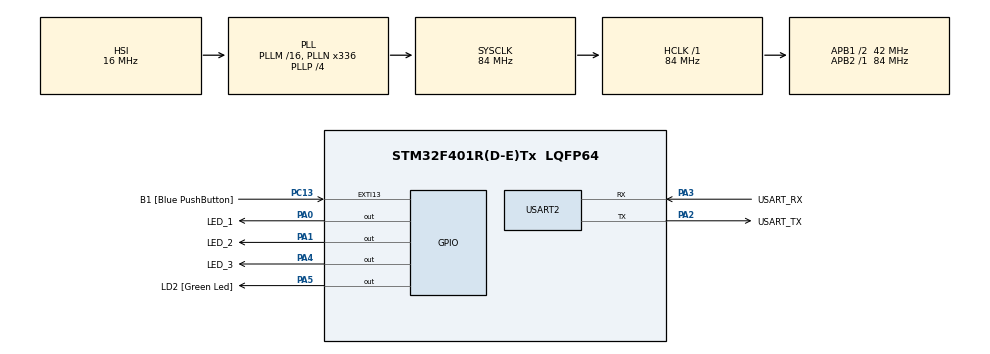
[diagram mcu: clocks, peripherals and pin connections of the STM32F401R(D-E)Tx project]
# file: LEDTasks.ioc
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Mcu.Family=STM32F4
Mcu.Name=STM32F401R(D-E)Tx
Mcu.Package=LQFP64
NVIC.PriorityGroup=NVIC_PRIORITYGROUP_4
NVIC.TIM1_UP_TIM10_IRQn=true\:15\:0\:false\:false\:true\:false\:true\:true
NVIC.TimeBase=TIM1_UP_TIM10_IRQn
NVIC.TimeBaseIP=TIM10
PA0-WKUP.GPIO_Label=LED_1
PA0-WKUP.GPIO_Speed=GPIO_SPEED_FREQ_VERY_HIGH
PA0-WKUP.Signal=GPIO_Output
PA1.GPIO_Label=LED_2
PA1.Signal=GPIO_Output
PA13.GPIO_Label=TMS
PA13.Mode=Trace_Asynchronous_SW
PA13.Signal=SYS_JTMS-SWDIO
PA14.GPIO_Label=TCK
PA14.Mode=Trace_Asynchronous_SW
PA14.Signal=SYS_JTCK-SWCLK
PA2.GPIO_Label=USART_TX
PA2.GPIO_Mode=GPIO_MODE_AF_PP
PA2.GPIO_PuPd=GPIO_NOPULL
PA2.GPIO_Speed=GPIO_SPEED_FREQ_LOW
PA2.Mode=Asynchronous
PA2.Signal=USART2_TX
PA3.GPIO_Label=USART_RX
PA3.GPIO_Mode=GPIO_MODE_AF_PP
PA3.GPIO_PuPd=GPIO_NOPULL
PA3.GPIO_Speed=GPIO_SPEED_FREQ_LOW
PA3.Mode=Asynchronous
PA3.Signal=USART2_RX
PA4.GPIO_Label=LED_3
PA4.Signal=GPIO_Output
PA5.GPIO_Label=LD2 [Green Led]
PA5.GPIO_Mode=GPIO_MODE_OUTPUT_PP
PA5.GPIO_PuPd=GPIO_NOPULL
PA5.GPIO_Speed=GPIO_SPEED_FREQ_LOW
PA5.Signal=GPIO_Output
PB3.GPIO_Label=SWO
PB3.Mode=Trace_Asynchronous_SW
PB3.Signal=SYS_JTDO-SWO
PC13-ANTI_TAMP.GPIO_Label=B1 [Blue PushButton]
PC13-ANTI_TAMP.GPIO_ModeDefaultEXTI=GPIO_MODE_IT_FALLING
PC13-ANTI_TAMP.GPIO_PuPd=GPIO_NOPULL
PC13-ANTI_TAMP.Signal=GPXTI13
PC14-OSC32_IN.Mode=LSE-External-Oscillator
PC14-OSC32_IN.Signal=RCC_OSC32_IN
PC15-OSC32_OUT.Mode=LSE-External-Oscillator
PC15-OSC32_OUT.Signal=RCC_OSC32_OUT
PH0\ -\ OSC_IN.Mode=HSE-External-Clock-Source
PH0\ -\ OSC_IN.Signal=RCC_OSC_IN
PH1\ -\ OSC_OUT.Mode=HSE-External-Clock-Source
PH1\ -\ OSC_OUT.Signal=RCC_OSC_OUT
ProjectManager.HeapSize=0x200
ProjectManager.StackSize=0x400
ProjectManager.TargetToolchain=STM32CubeIDE
RCC.48MHZClocksFreq_Value=48000000
RCC.AHBFreq_Value=84000000
RCC.APB1CLKDivider=RCC_HCLK_DIV2
RCC.APB1Freq_Value=42000000
RCC.APB1TimFreq_Value=84000000
RCC.APB2Freq_Value=84000000
RCC.APB2TimFreq_Value=84000000
RCC.CortexFreq_Value=84000000
RCC.HCLKFreq_Value=84000000
RCC.HSE_VALUE=8000000
RCC.HSI_VALUE=16000000
RCC.PLLN=336
RCC.PLLP=RCC_PLLP_DIV4
RCC.PLLQ=7
RCC.SYSCLKFreq_VALUE=84000000
RCC.SYSCLKSource=RCC_SYSCLKSOURCE_PLLCLK
RCC.VCOOutputFreq_Value=336000000
USART2.VirtualMode=VM_ASYNC
VP_SYS_VS_tim10.Mode=TIM10
board=NUCLEO-F401RE

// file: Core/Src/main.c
/* USER CODE BEGIN Header */
/**
  ******************************************************************************
  * @file           : main.c
  * @brief          : Main program body
  ******************************************************************************
  * @attention
  *
  * Copyright (c) 2026 STMicroelectronics.
  * All rights reserved.
  *
  * This software is licensed under terms that can be found in the LICENSE file
  * in the root directory of this software component.
  * If no LICENSE file comes with this software, it is provided AS-IS.
  *
  ******************************************************************************
  */
/* USER CODE END Header */
#include "main.h"

/* USER CODE BEGIN Includes */
#include <stdio.h>
#include "FreeRtos.h"
#include "task.h"
/* USER CODE END Includes */

UART_HandleTypeDef huart2;

void SystemClock_Config(void);
static void MX_GPIO_Init(void);
static void MX_USART2_UART_Init(void);

/* USER CODE BEGIN PFP */

static void LED1_Handler(void*pvParameters);
static void LED2_Handler(void*pvParameters);
static void LED3_Handler(void*pvParameters);

/* USER CODE END PFP */

int main(void)
{

  /* USER CODE BEGIN 1 */

	// declare task handles
	TaskHandle_t Task1Handle, Task2Handle, Task3Handle;
	// Structure for xTaskCreate return
	BaseType_t xReturned;

  /* USER CODE END 1 */

  /* MCU Configuration--------------------------------------------------------*/

  /* Reset of all peripherals, Initializes the Flash interface and the Systick. */
  HAL_Init();

  /* Configure the system clock */

  SystemClock_Config();

  /* Initialize all configured peripherals */
  MX_GPIO_Init();
  MX_USART2_UART_Init();

  /* USER CODE BEGIN 2 */

  // Create tasks1
  xReturned = xTaskCreate(LED1_Handler, "Task1", 100, NULL, 2, &Task1Handle);
  //check if task creation was successful
  configASSERT(xReturned == pdPASS);

  // Create tasks2
  xReturned = xTaskCreate(LED2_Handler, "Task2", 100, NULL, 2, &Task2Handle);
  //check if task creation was successful
  configASSERT(xReturned == pdPASS);

  // Create tasks3
  xReturned = xTaskCreate(LED3_Handler, "Task3", 100, NULL, 2, &Task3Handle);
  //check if task creation was successful
  configASSERT(xReturned == pdPASS);

  // start real time sheduler

  vTaskStartScheduler();

  /* USER CODE END 2 */

  /* Infinite loop */
  while (1)
  {

  }
}

void SystemClock_Config(void)
{
  RCC_OscInitTypeDef RCC_OscInitStruct = {0};
  RCC_ClkInitTypeDef RCC_ClkInitStruct = {0};

  /** Configure the main internal regulator output voltage
  */
  __HAL_RCC_PWR_CLK_ENABLE();
  __HAL_PWR_VOLTAGESCALING_CONFIG(PWR_REGULATOR_VOLTAGE_SCALE2);

  /** Initializes the RCC Oscillators according to the specified parameters
  * in the RCC_OscInitTypeDef structure.
  */
  RCC_OscInitStruct.OscillatorType = RCC_OSCILLATORTYPE_HSI;
  RCC_OscInitStruct.HSIState = RCC_HSI_ON;
  RCC_OscInitStruct.HSICalibrationValue = RCC_HSICALIBRATION_DEFAULT;
  RCC_OscInitStruct.PLL.PLLState = RCC_PLL_ON;
  RCC_OscInitStruct.PLL.PLLSource = RCC_PLLSOURCE_HSI;
  RCC_OscInitStruct.PLL.PLLM = 16;
  RCC_OscInitStruct.PLL.PLLN = 336;
  RCC_OscInitStruct.PLL.PLLP = RCC_PLLP_DIV4;
  RCC_OscInitStruct.PLL.PLLQ = 7;
  if (HAL_RCC_OscConfig(&RCC_OscInitStruct) != HAL_OK)
  {
    Error_Handler();
  }

  /** Initializes the CPU, AHB and APB buses clocks
  */
  RCC_ClkInitStruct.ClockType = RCC_CLOCKTYPE_HCLK|RCC_CLOCKTYPE_SYSCLK
                              |RCC_CLOCKTYPE_PCLK1|RCC_CLOCKTYPE_PCLK2;
  RCC_ClkInitStruct.SYSCLKSource = RCC_SYSCLKSOURCE_PLLCLK;
  RCC_ClkInitStruct.AHBCLKDivider = RCC_SYSCLK_DIV1;
  RCC_ClkInitStruct.APB1CLKDivider = RCC_HCLK_DIV2;
  RCC_ClkInitStruct.APB2CLKDivider = RCC_HCLK_DIV1;

  if (HAL_RCC_ClockConfig(&RCC_ClkInitStruct, FLASH_LATENCY_2) != HAL_OK)
  {
    Error_Handler();
  }
}

static void MX_USART2_UART_Init(void)
{

  huart2.Instance = USART2;
  huart2.Init.BaudRate = 115200;
  huart2.Init.WordLength = UART_WORDLENGTH_8B;
  huart2.Init.StopBits = UART_STOPBITS_1;
  huart2.Init.Parity = UART_PARITY_NONE;
  huart2.Init.Mode = UART_MODE_TX_RX;
  huart2.Init.HwFlowCtl = UART_HWCONTROL_NONE;
  huart2.Init.OverSampling = UART_OVERSAMPLING_16;
  if (HAL_UART_Init(&huart2) != HAL_OK)
  {
    Error_Handler();
  }

}

static void MX_GPIO_Init(void)
{
  GPIO_InitTypeDef GPIO_InitStruct = {0};

  /* GPIO Ports Clock Enable */
  __HAL_RCC_GPIOC_CLK_ENABLE();
  __HAL_RCC_GPIOH_CLK_ENABLE();
  __HAL_RCC_GPIOA_CLK_ENABLE();
  __HAL_RCC_GPIOB_CLK_ENABLE();

  /*Configure GPIO pin Output Level */
  HAL_GPIO_WritePin(GPIOA, LED_1_Pin|LED_2_Pin|LED_3_Pin|LD2_Pin, GPIO_PIN_RESET);

  /*Configure GPIO pin : B1_Pin */
  GPIO_InitStruct.Pin = B1_Pin;
  GPIO_InitStruct.Mode = GPIO_MODE_IT_FALLING;
  GPIO_InitStruct.Pull = GPIO_NOPULL;
  HAL_GPIO_Init(B1_GPIO_Port, &GPIO_InitStruct);

  /*Configure GPIO pin : LED_1_Pin */
  GPIO_InitStruct.Pin = LED_1_Pin;
  GPIO_InitStruct.Mode = GPIO_MODE_OUTPUT_PP;
  GPIO_InitStruct.Pull = GPIO_NOPULL;
  GPIO_InitStruct.Speed = GPIO_SPEED_FREQ_VERY_HIGH;
  HAL_GPIO_Init(LED_1_GPIO_Port, &GPIO_InitStruct);

  /*Configure GPIO pins : LED_2_Pin LED_3_Pin LD2_Pin */
  GPIO_InitStruct.Pin = LED_2_Pin|LED_3_Pin|LD2_Pin;
  GPIO_InitStruct.Mode = GPIO_MODE_OUTPUT_PP;
  GPIO_InitStruct.Pull = GPIO_NOPULL;
  GPIO_InitStruct.Speed = GPIO_SPEED_FREQ_LOW;
  HAL_GPIO_Init(GPIOA, &GPIO_InitStruct);

}

/* USER CODE BEGIN 4 */

// define task handlers

static void LED1_Handler(void*pvParameters)
{
	while(1)
	{
		printf("\nTask1");
		HAL_GPIO_TogglePin(GPIOA, LED_1_Pin);
		vTaskDelay(pdMS_TO_TICKS(100));

	}
}
static void LED2_Handler(void*pvParameters)
{
	while(1)
	{
		printf("\nTask2");
	    HAL_GPIO_TogglePin(GPIOA, LED_2_Pin);
		vTaskDelay(pdMS_TO_TICKS(500));

	}
}
static void LED3_Handler(void*pvParameters)
{
	while(1)
	{
		printf("\nTask3");
		HAL_GPIO_TogglePin(GPIOA, LED_3_Pin);
		vTaskDelay(pdMS_TO_TICKS(1000));
	}
}
/* USER CODE END 4 */

void HAL_TIM_PeriodElapsedCallback(TIM_HandleTypeDef *htim)
{
  if (htim->Instance == TIM10)
  {
    HAL_IncTick();
  }
}

void Error_Handler(void)
{
  __disable_irq();
  while (1)
  {
  }
}
